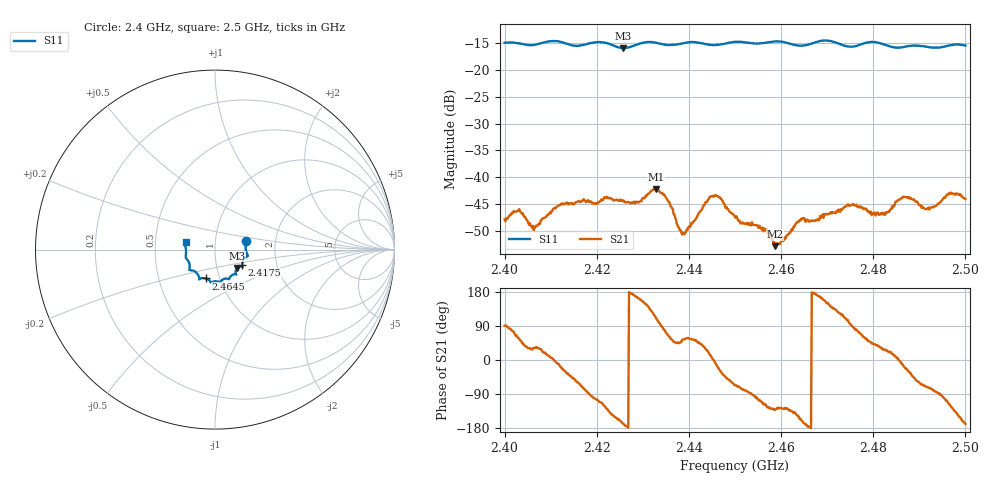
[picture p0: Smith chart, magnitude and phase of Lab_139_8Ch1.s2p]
# Hz S RI R 50
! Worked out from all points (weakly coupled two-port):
!   601 points, 2.4 GHz to 2.5 GHz, reference 50 ohm
!   highest |S21| = -42.22 dB at 2.4328 GHz (marker M1); lowest = -52.9 dB at 2.4587 GHz (marker M2)
!   lowest |S11| = -15.9 dB at 2.4257 GHz (marker M3), VSWR 1.38, Z = 62.5 - j13.1 ohm
!   |S11| at or under -10 dB: start of sweep to end of sweep
!   S12 and S22 are empty: the file has one direction only
!   S11 on the Smith chart (normalised r, x): 2.4 GHz: 1.41, +0.14; 2.4175 GHz: 1.33, -0.23; 2.4645 GHz: 0.86, -0.28; 2.5 GHz: 0.72, +0.06
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2.4e9  0.1729 0.0486  -5.47e-05 0.00402  0 0  0 0
2.403e9  0.1741 0.0344  0.00259 0.00409  0 0  0 0
2.4065e9  0.1717 -0.00405  0.00287 0.00171  0 0  0 0
2.411833e9  0.1807 -0.0366  0.00531 -0.0012  0 0  0 0
2.416667e9  0.1527 -0.0742  0.00217 -0.00551  0 0  0 0
2.4175e9  0.1516 -0.0835  0.00113 -0.00591  0 0  0 0
2.425667e9  0.1231 -0.1022  -0.00592 -0.00128  0 0  0 0
2.432833e9  0.1155 -0.1377  -0.00274 0.00725  0 0  0 0
2.433333e9  0.1131 -0.137  -0.00157 0.00734  0 0  0 0
2.438833e9  0.0805 -0.1586  0.00178 0.00246  0 0  0 0
2.445e9  0.0558 -0.1617  0.00661 0.000698  0 0  0 0
2.45e9  0.0288 -0.181  0.00174 -0.00386  0 0  0 0
2.4565e9  -0.0101 -0.1791  -0.0015 -0.00293  0 0  0 0
2.458667e9  -0.0212 -0.1835  -0.00151 -0.00169  0 0  0 0
2.4645e9  -0.0514 -0.1606  -0.00379 -0.0014  0 0  0 0
2.466667e9  -0.0758 -0.1596  -0.00391 0.000109  0 0  0 0
2.474833e9  -0.1045 -0.1278  -0.000625 0.00533  0 0  0 0
2.483333e9  -0.1409 -0.0903  0.00448 0.00171  0 0  0 0
2.486667e9  -0.1533 -0.0581  0.00627 -0.00197  0 0  0 0
2.491667e9  -0.1619 -0.0285  0.00165 -0.00477  0 0  0 0
2.4965e9  -0.1679 0.0237  -0.0032 -0.00632  0 0  0 0
2.5e9  -0.1637 0.0427  -0.00614 -0.00124  0 0  0 0
